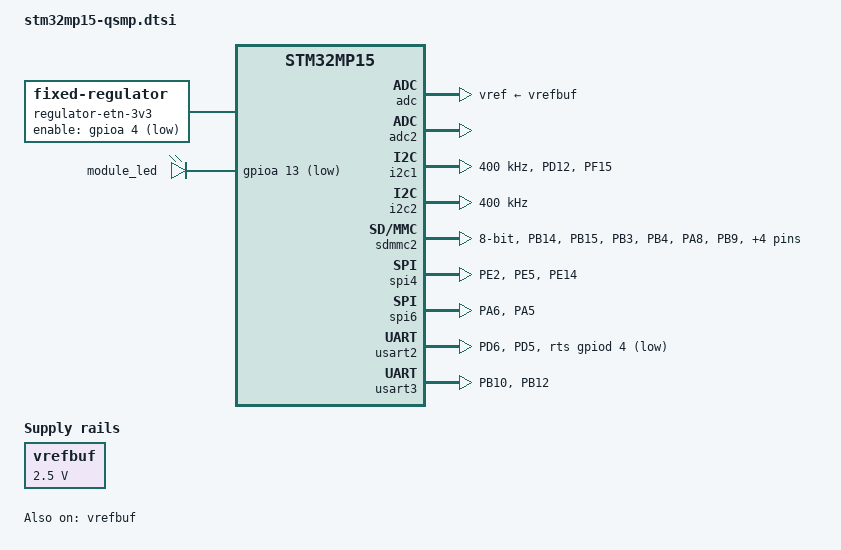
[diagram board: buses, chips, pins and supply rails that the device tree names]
// SPDX-License-Identifier: (GPL-2.0 OR BSD-3-Clause)
/*
 * Copyright (C) 2020 Lothar Waßmann <LW@KARO-electronics.de>
 */

/ {
	aliases {
		i2c1 = &i2c2;
		i2c2 = &i2c1;
		mmc1 = &sdmmc1;
		serial1 = &usart3;
		serial2 = &usart2;
	};

	regulator-etn-3v3 {
		compatible = "fixed-regulator";
		regulator-name = "etn-phy";
		regulator-min-microvolt = <3300000>;
		regulator-max-microvolt = <3300000>;
		enable-gpios = <&gpioa 4 GPIO_ACTIVE_LOW>;
		regulator-always-on;
	};
};

&adc {
	vdd-supply = <&reg_3v3>;
	vdda-supply = <&reg_3v3>;
	vref-supply = <&vrefbuf>;
	status = "okay";
};

&adc2 {
	status = "okay";
};

&i2c1 {
	pinctrl-names = "default", "sleep";
	pinctrl-0 = <&qsmp_i2c1_pins>;
	pinctrl-1 = <&qsmp_i2c1_sleep_pins>;
	clock-frequency = <400000>;
};

&i2c2 {
	pinctrl-names = "default", "sleep";
	pinctrl-0 = <&qsmp_i2c2_pins_z>;
	pinctrl-1 = <&qsmp_i2c2_sleep_pins_z>;
	clock-frequency = <400000>;
	status = "okay";
};

&module_led {
	gpios = <&gpioa 13 (GPIO_ACTIVE_LOW | GPIO_PULL_UP)>;
};

&sdmmc1 {
	pinctrl-names = "default", "opendrain", "sleep";
	pinctrl-0 = <&qsmp_sdmmc1_pins>;
	pinctrl-1 = <&qsmp_sdmmc1_opendrain_pins>;
	pinctrl-2 = <&qsmp_sdmmc1_sleep_pins>;
	bus-width = <4>;
	vmmc-supply = <&reg_3v3>;
	cd-gpios = <&gpiob 7 (GPIO_ACTIVE_LOW | GPIO_PULL_UP)>;
	no-1-8-v;
	st,neg-edge;
	status = "disabled";
};

&sdmmc2 {
	/* eMMC */
	pinctrl-0 = <&qsmp_sdmmc2_pins>;
	pinctrl-1 = <&qsmp_sdmmc2_opendrain_pins>;
	pinctrl-2 = <&qsmp_sdmmc2_sleep_pins>;
	bus-width = <8>;
};

&spi4 {
	pinctrl-names = "default";
	pinctrl-0 = <&qsmp_spi4_pins>;
	pinctrl-1 = <&qsmp_spi4_sleep_pins>;
	cs-gpios = <&gpioe 11 (GPIO_ACTIVE_LOW | GPIO_PULL_UP)>;
	status = "okay";
};

&spi6 {
	pinctrl-names = "default", "sleep";
	pinctrl-0 = <&qsmp_spi6_pins &qsmp_spi6_pins_z>;
	pinctrl-1 = <&qsmp_spi6_sleep_pins &qsmp_spi6_sleep_pins_z>;
	cs-gpios = <&gpioz 3 (GPIO_ACTIVE_LOW | GPIO_PULL_UP)>;
	status = "okay";
};

&timers2 {
	/* spare dmas for other usage */
	/delete-property/dmas;
	/delete-property/dma-names;
};

&usart2 {
	pinctrl-names = "default", "sleep";
	pinctrl-0 = <&qsmp_usart2_pins>;
	pinctrl-1 = <&qsmp_usart2_sleep_pins>;
	rts-gpios = <&gpiod 4 GPIO_ACTIVE_LOW>;
	cts-gpios = <&gpiod 3 (GPIO_ACTIVE_LOW | GPIO_PULL_UP)>;
	/delete-property/ dma-names;
	/delete-property/ dmas;
	status = "okay";
};

&usart3 {
	pinctrl-names = "default", "sleep";
	pinctrl-0 = <&qsmp_usart3_pins>;
	pinctrl-1 = <&qsmp_usart3_sleep_pins>;
	/delete-property/ dma-names;
	/delete-property/ dmas;
	status = "okay";
};

&vrefbuf {
	regulator-min-microvolt = <2500000>;
	regulator-max-microvolt = <2500000>;
	vdda-supply = <&reg_3v3>;
	status = "okay";
};

&pinctrl {
	qsmp_i2c1_pins: qsmp_i2c1-pins {
		pins {
			pinmux = <
				  STM32_PINMUX('D', 12, AF5) /* I2C1_SCL */
				  STM32_PINMUX('F', 15, AF5) /* I2C1_SDA */
			>;
			bias-disable;
			drive-open-drain;
			slew-rate = <0>;
		};
	};

	qsmp_i2c1_sleep_pins: qsmp_i2c1-sleep-pins {
		pins {
			pinmux = <
				  STM32_PINMUX('D', 12, ANALOG) /* I2C1_SCL */
				  STM32_PINMUX('F', 15, ANALOG) /* I2C1_SDA */
			>;
		};
	};

	qsmp_sdmmc1_pins: qsmp-sdmmc1-pins {
		pins1 {
			pinmux = <
				  STM32_PINMUX('D', 2, AF12)	/* SDMMC1_CMD */
				  STM32_PINMUX('C', 8, AF12)	/* SDMMC1_D0 */
				  STM32_PINMUX('C', 9, AF12)	/* SDMMC1_D1 */
				  STM32_PINMUX('C', 10, AF12)	/* SDMMC1_D2 */
				  STM32_PINMUX('C', 11, AF12)	/* SDMMC1_D3 */
			>;
			bias-disable;
			drive-push-pull;
			slew-rate = <1>;
		};

		pins2 {
			pinmux = <STM32_PINMUX('C', 12, AF12)>; /* SDMMC1_CK */
			bias-disable;
			drive-push-pull;
			slew-rate = <2>;
		};
	};

	qsmp_sdmmc1_opendrain_pins: qsmp-sdmmc1-opendrain-pins {
		pins1 {
			pinmux = <
				  STM32_PINMUX('C', 8, AF12)	/* SDMMC1_D0 */
				  STM32_PINMUX('C', 9, AF12)	/* SDMMC1_D1 */
				  STM32_PINMUX('C', 10, AF12)	/* SDMMC1_D2 */
				  STM32_PINMUX('C', 11, AF12)	/* SDMMC1_D3 */
			>;
			bias-disable;
			drive-push-pull;
			slew-rate = <1>;
		};

		pins2 {
			pinmux = <STM32_PINMUX('D', 2, AF12)>; /* SDMMC1_CMD */
			bias-disable;
			drive-open-drain;
			slew-rate = <1>;
		};

		pins3 {
			pinmux = <STM32_PINMUX('C', 12, AF12)>; /* SDMMC1_CK */
			bias-disable;
			drive-push-pull;
			slew-rate = <2>;
		};
	};

	qsmp_sdmmc1_sleep_pins: sdmmc1-sleep-pins {
		pins1 {
			pinmux = <
				  STM32_PINMUX('D', 2, ANALOG)	/* SDMMC1_CMD */
				  STM32_PINMUX('C', 8, ANALOG)	/* SDMMC1_D0 */
				  STM32_PINMUX('C', 9, ANALOG)	/* SDMMC1_D1 */
				  STM32_PINMUX('C', 10, ANALOG)	/* SDMMC1_D2 */
				  STM32_PINMUX('C', 11, ANALOG)	/* SDMMC1_D3 */
				  STM32_PINMUX('C', 12, ANALOG)	/* SDMMC1_CK */
			>;
		};
	};

	qsmp_sdmmc2_pins: qsmp-sdmmc2-pins {
		pins1 {
			pinmux = <
				  STM32_PINMUX('B', 14, AF9)	/* SDMMC2_D0 */
				  STM32_PINMUX('B', 15, AF9)	/* SDMMC2_D1 */
				  STM32_PINMUX('B', 3, AF9)	/* SDMMC2_D2 */
				  STM32_PINMUX('B', 4, AF9)	/* SDMMC2_D3 */
				  STM32_PINMUX('A', 8, AF9)	/* SDMMC2_D4 */
				  STM32_PINMUX('B', 9, AF10)	/* SDMMC2_D5 */
				  STM32_PINMUX('C', 6, AF10)	/* SDMMC2_D6 */
				  STM32_PINMUX('C', 7, AF10)	/* SDMMC2_D7 */
				  STM32_PINMUX('G', 6, AF10)	/* SDMMC2_CMD */
			>;
			bias-disable;
			drive-push-pull;
			slew-rate = <1>;
		};

		pins2 {
			pinmux = <STM32_PINMUX('E', 3, AF9)>; /* SDMMC2_CK */
			bias-disable;
			drive-push-pull;
			slew-rate = <3>;
		};
	};

	qsmp_sdmmc2_opendrain_pins: qsmp-sdmmc2-opendrain-pins {
		pins1 {
			pinmux = <
				  STM32_PINMUX('B', 14, AF9)	/* SDMMC2_D0 */
				  STM32_PINMUX('B', 15, AF9)	/* SDMMC2_D1 */
				  STM32_PINMUX('B', 3, AF9)	/* SDMMC2_D2 */
				  STM32_PINMUX('B', 4, AF9)	/* SDMMC2_D3 */
				  STM32_PINMUX('A', 8, AF9)	/* SDMMC2_D4 */
				  STM32_PINMUX('B', 9, AF10)	/* SDMMC2_D5 */
				  STM32_PINMUX('C', 6, AF10)	/* SDMMC2_D6 */
				  STM32_PINMUX('C', 7, AF10)	/* SDMMC2_D7 */
			>;
			bias-disable;
			drive-push-pull;
			slew-rate = <1>;
		};

		pins2 {
			pinmux = <STM32_PINMUX('G', 6, AF10)>;	/* SDMMC2_CMD */
			bias-disable;
			drive-open-drain;
			slew-rate = <1>;
		};

		pins3 {
			pinmux = <STM32_PINMUX('E', 3, AF9)>; /* SDMMC2_CK */
			bias-disable;
			drive-push-pull;
			slew-rate = <3>;
		};
	};

	qsmp_sdmmc2_sleep_pins: qsmp-sdmmc2-sleep-pins {
		pins {
			pinmux = <
				  STM32_PINMUX('B', 14, ANALOG)	/* SDMMC2_D0 */
				  STM32_PINMUX('B', 15, ANALOG)	/* SDMMC2_D1 */
				  STM32_PINMUX('B', 3, ANALOG)	/* SDMMC2_D2 */
				  STM32_PINMUX('B', 4, ANALOG)	/* SDMMC2_D3 */
				  STM32_PINMUX('A', 8, ANALOG)	/* SDMMC2_D4 */
				  STM32_PINMUX('B', 9, ANALOG)	/* SDMMC2_D5 */
				  STM32_PINMUX('C', 6, ANALOG)	/* SDMMC2_D6 */
				  STM32_PINMUX('C', 7, ANALOG)	/* SDMMC2_D7 */
				  STM32_PINMUX('G', 6, ANALOG)	/* SDMMC2_CMD */
				  STM32_PINMUX('E', 3, ANALOG)	/* SDMMC2_CK */
			>;
		};
	};

	qsmp_spi4_pins: qsmp-spi4-pins {
		pins {
			pinmux = <
				  STM32_PINMUX('E', 2, AF5) /* SPI4_SCK */
				  STM32_PINMUX('E', 5, AF5) /* SPI4_MISO */
				  STM32_PINMUX('E', 14, AF5) /* SPI4_MOSI */
			>;
			bias-disable;
			drive-push-pull;
			slew-rate = <1>;
		};
	};

	qsmp_spi4_sleep_pins: qsmp-spi4-sleep-pins {
		pins {
			pinmux = <
				  STM32_PINMUX('E', 2, ANALOG) /* SPI4_SCK */
				  STM32_PINMUX('E', 5, ANALOG) /* SPI4_MISO */
				  STM32_PINMUX('E', 14, ANALOG) /* SPI4_MOSI */
			>;
		};
	};


	qsmp_spi6_pins: qsmp-spi6-pins {
		pins {
			pinmux = <
				  STM32_PINMUX('A', 6, AF8) /* SPI6_MISO */
				  STM32_PINMUX('A', 5, AF8) /* SPI6_SCK */
			>;
			bias-disable;
			drive-push-pull;
			slew-rate = <1>;
		};
	};

	qsmp_spi6_sleep_pins: qsmp-spi6-sleep-pins {
		pins {
			pinmux = <
				  STM32_PINMUX('A', 6, ANALOG) /* SPI6_MISO */
				  STM32_PINMUX('A', 5, ANALOG) /* SPI6_SCK */
			>;
		};
	};

	qsmp_usart2_pins: qsmp-usart2-pins {
		pins1 {
			pinmux = <
				  STM32_PINMUX('D', 6, AF7) /* USART2_RX */
			>;
			bias-pull-up;
		};

		pins2 {
			pinmux = <
				  STM32_PINMUX('D', 5, AF7) /* USART2_TX */
			>;
			bias-disable;
			drive-push-pull;
			slew-rate = <0>;
		};
	};

	qsmp_usart2_rtscts_pins: qsmp-usart2-rtscts-pins {
		pins1 {
			pinmux = <
				  STM32_PINMUX('D', 3, AF7) /* USART2_CTS */
			>;
			bias-pull-up;
		};

		pins2 {
			pinmux = <
				  STM32_PINMUX('D', 4, AF7) /* USART2_RTS */
			>;
			bias-disable;
			drive-push-pull;
			slew-rate = <0>;
		};
	};

	qsmp_usart2_sleep_pins: usart2-qsmp-sleep-pins {
		pins {
			pinmux = <
				  STM32_PINMUX('D', 5, ANALOG) /* USART2_TX */
				  STM32_PINMUX('D', 6, ANALOG) /* USART2_RX */
			>;
		};
	};

	qsmp_usart2_rtscts_sleep_pins: qsmp-usart2-rtscts-sleep-pins {
		pins {
			pinmux = <
				  STM32_PINMUX('D', 3, ANALOG) /* USART2_CTS */
				  STM32_PINMUX('D', 4, ANALOG) /* USART2_RTS */
			>;
		};
	};

	qsmp_usart3_pins: qsmp-usart3-pins {
		pins1 {
			pinmux = <STM32_PINMUX('B', 10, AF7)>; /* USART3_TX */
			bias-disable;
			drive-push-pull;
			slew-rate = <0>;
		};

		pins2 {
			pinmux = <STM32_PINMUX('B', 12, AF8)>; /* USART3_RX */
			bias-pull-up;
		};
	};

	qsmp_usart3_sleep_pins: qsmp-usart3-sleep-pins {
		pins {
			pinmux = <STM32_PINMUX('B', 10, ANALOG) /* USART3_TX */
				  STM32_PINMUX('B', 12, ANALOG) /* USART3_RX */
			>;
		};
	};
};

&pinctrl_z {
	qsmp_i2c2_pins_z: qsmp_i2c2-pins-z {
		pins {
			pinmux = <
				  STM32_PINMUX('Z', 0, AF3) /* I2C2_SCL */
				  STM32_PINMUX('Z', 1, AF3) /* I2C2_SDA */
			>;
			bias-disable;
			drive-open-drain;
			slew-rate = <0>;
		};
	};

	qsmp_i2c2_sleep_pins_z: qsmp_i2c2-sleep-pins-z {
		pins {
			pinmux = <
				  STM32_PINMUX('Z', 0, ANALOG) /* I2C2_SCL */
				  STM32_PINMUX('Z', 1, ANALOG) /* I2C2_SDA */
			>;
		};
	};

	qsmp_spi6_pins_z: qsmp-spi6-pins-z {
		pins {
			pinmux = <
				  STM32_PINMUX('Z', 2, AF8) /* SPI6_MOSI */
			>;
			bias-disable;
			drive-push-pull;
			slew-rate = <1>;
		};
	};

	qsmp_spi6_sleep_pins_z: qsmp-spi6-sleep-pins-z {
		pins {
			pinmux = <
				  STM32_PINMUX('Z', 2, ANALOG) /* SPI6_MOSI */
			>;
		};
	};
};
